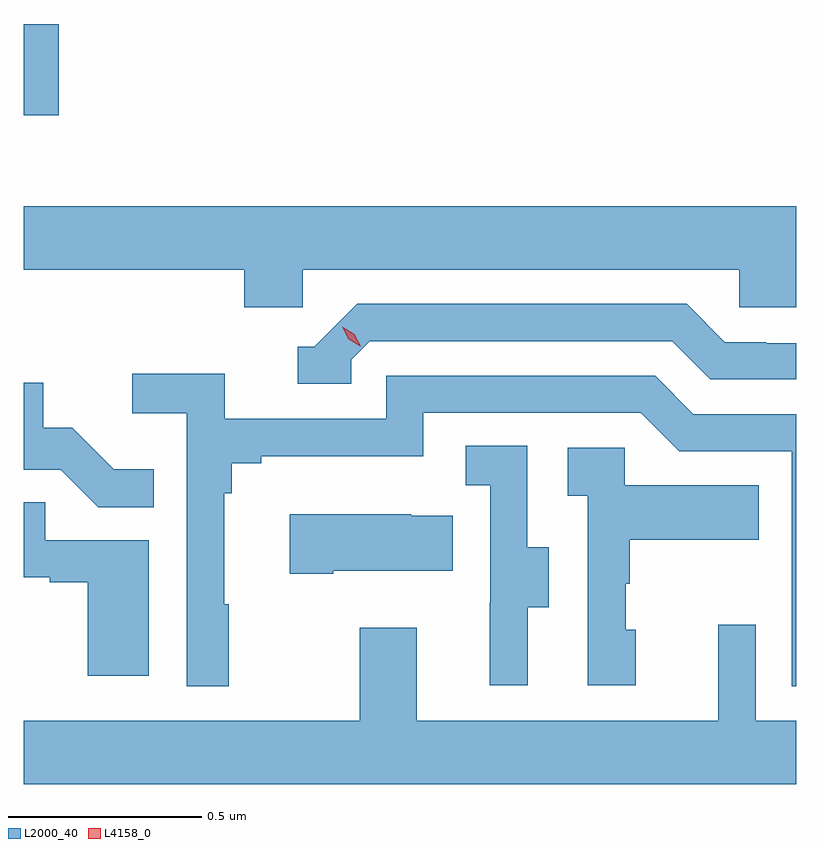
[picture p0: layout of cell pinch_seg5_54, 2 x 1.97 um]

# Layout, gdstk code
import gdstk
lib = gdstk.Library(unit=1e-6, precision=1e-09)
def R(c, l, rs):  # rectangles x0, y0, x1, y1
    for r in rs: c.add(gdstk.rectangle(r[:2], r[2:], *l))
def P(c, l, *ps):  # polygons
    for p in ps: c.add(gdstk.Polygon(p, *l))
L2000_40 = (2000, 40)
L4158_0 = (4158, 0)

pinch_seg5_54 = lib.new_cell('pinch_seg5_54')
R(pinch_seg5_54, L2000_40, [(1082.26,895.788,1082.35,896.024)])
P(pinch_seg5_54, L2000_40, [(1082.982,895.388),(1084.113,895.388),(1084.113,895.29),(1084.26,895.29),(1084.26,895.552),(1082.26,895.552),(1082.26,895.388),(1082.831,895.388),(1082.831,895.29),(1082.982,895.29)],
  [(1083.108,895.155),(1083.156,895.203),(1083.939,895.203),(1084.038,895.104),(1084.26,895.104),(1084.26,895.197),(1084.182,895.197),(1084.182,895.2),(1084.075,895.2),(1083.976,895.299),(1083.123,895.299),(1083.012,895.188),(1082.969,895.188),(1082.969,895.092),(1083.108,895.092)],
  [(1082.791,894.521),(1082.779,894.521),(1082.779,894.809),(1082.798,894.809),(1082.798,894.886),(1082.875,894.886),(1082.875,894.905),(1083.294,894.905),(1083.294,895.017),(1083.858,895.017),(1083.957,894.918),(1084.248,894.918),(1084.248,894.309),(1084.26,894.309),(1084.26,895.014),(1083.994,895.014),(1083.895,895.113),(1083.198,895.113),(1083.198,895.002),(1082.78,895.002),(1082.78,895.118),(1082.541,895.118),(1082.541,895.016),(1082.682,895.016),(1082.682,894.309),(1082.791,894.309)],
  [(1082.597,894.871),(1082.493,894.871),(1082.386,894.978),(1082.31,894.978),(1082.31,895.095),(1082.26,895.095),(1082.26,894.87),(1082.355,894.87),(1082.453,894.772),(1082.597,894.772)],
  [(1083.565,894.514),(1083.619,894.514),(1083.619,894.669),(1083.564,894.669),(1083.564,894.932),(1083.405,894.932),(1083.405,894.829),(1083.468,894.829),(1083.468,894.525),(1083.467,894.525),(1083.467,894.312),(1083.565,894.312)],
  [(1083.844,894.456),(1083.819,894.456),(1083.819,894.575),(1083.829,894.575),(1083.829,894.689),(1084.163,894.689),(1084.163,894.829),(1083.816,894.829),(1083.816,894.927),(1083.669,894.927),(1083.669,894.803),(1083.72,894.803),(1083.72,894.312),(1083.844,894.312)],
  [(1082.584,894.687),(1082.315,894.687),(1082.315,894.785),(1082.26,894.785),(1082.26,894.591),(1082.327,894.591),(1082.327,894.579),(1082.426,894.579),(1082.426,894.336),(1082.584,894.336)],
  [(1083.061,894.608),(1083.371,894.608),(1083.371,894.751),(1083.263,894.751),(1083.263,894.754),(1082.949,894.754),(1082.949,894.601),(1083.061,894.601)],
  [(1084.058,894.469),(1084.058,894.22),(1083.277,894.22),(1083.277,894.46),(1083.13,894.46),(1083.13,894.22),(1082.26,894.22),(1082.26,894.056),(1084.26,894.056),(1084.26,894.22),(1084.155,894.22),(1084.155,894.469)])
P(pinch_seg5_54, L4158_0, [(1083.131,895.189),(1083.101,895.208),(1083.084,895.24),(1083.084,895.24),(1083.084,895.24),(1083.115,895.221),(1083.132,895.189),(1083.132,895.189)])

lib.write_gds('pinch_seg5_54.gds')
